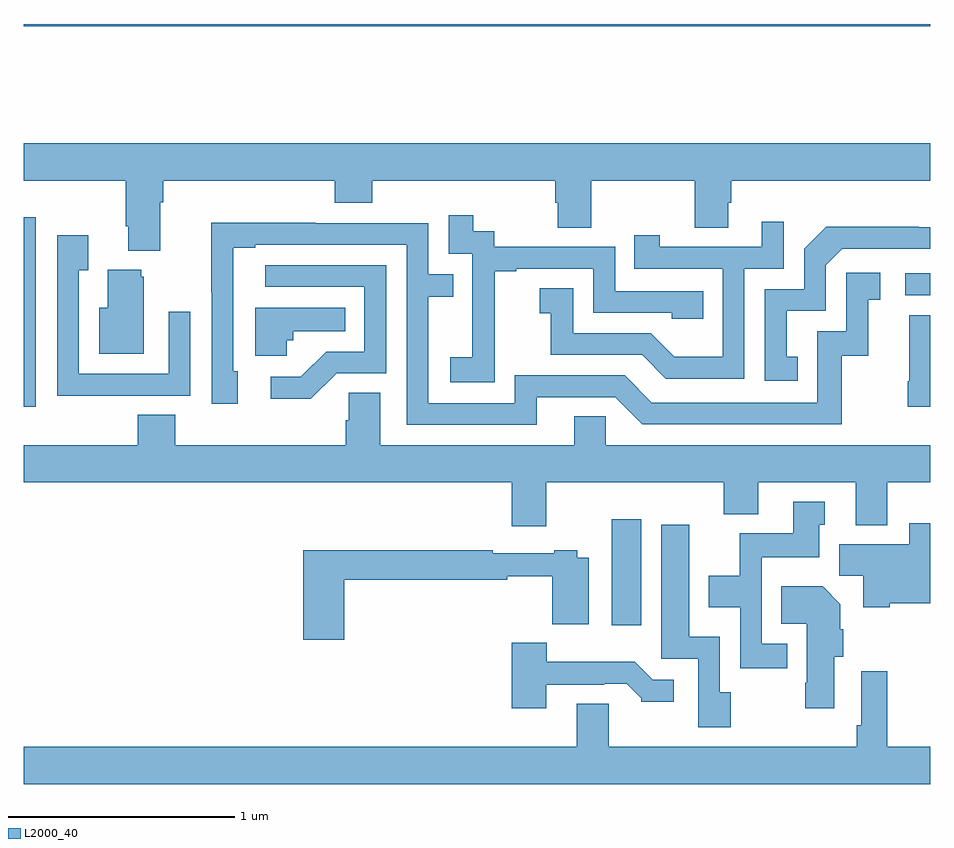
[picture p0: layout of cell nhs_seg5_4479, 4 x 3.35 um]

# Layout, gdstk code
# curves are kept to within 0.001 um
import gdstk
lib = gdstk.Library(unit=1e-6, precision=1e-09)
def R(c, l, rs):  # rectangles x0, y0, x1, y1
    for r in rs: c.add(gdstk.rectangle(r[:2], r[2:], *l))
def P(c, l, *ps):  # polygons
    for p in ps: c.add(gdstk.Polygon(p, *l))
L2000_40 = (2000, 40)

nhs_seg5_4479 = lib.new_cell('nhs_seg5_4479')
R(nhs_seg5_4479, L2000_40, [(377.594,840.144,377.725,840.613), (375,841.11,375.052,841.945), (378.891,841.602,379,841.698), (375,842.788,379,842.799)])
P(nhs_seg5_4479, L2000_40, [(375.601,842.012),(375.614,842.012),(375.614,842.108),(376.373,842.108),(376.373,842.009),(376.538,842.009),(376.538,842.108),(377.345,842.108),(377.345,842.01),(377.357,842.01),(377.357,841.9),(377.505,841.9),(377.505,842.108),(377.962,842.108),(377.962,841.9),(378.109,841.9),(378.109,842.01),(378.122,842.01),(378.122,842.108),(379,842.108),(379,842.272),(375,842.272),(375,842.108),(375.449,842.108),(375.449,841.906),(375.461,841.906),(375.461,841.799),(375.601,841.799)],
  [(377.079,841.423),(377.078,841.423),(377.078,841.707),(377.173,841.707),(377.173,841.719),(377.514,841.719),(377.514,841.524),(377.859,841.524),(377.859,841.497),(377.999,841.497),(377.999,841.62),(377.61,841.62),(377.61,841.815),(377.076,841.815),(377.076,841.884),(376.984,841.884),(376.984,841.954),(376.875,841.954),(376.875,841.785),(376.98,841.785),(376.98,841.556),(376.979,841.556),(376.979,841.327),(376.881,841.327),(376.881,841.217),(377.079,841.217)],
  [(378.18,841.719),(378.354,841.719),(378.354,841.927),(378.257,841.927),(378.257,841.815),(377.806,841.815),(377.806,841.867),(377.695,841.867),(377.695,841.719),(378.084,841.719),(378.084,841.33),(377.87,841.33),(377.766,841.434),(377.424,841.434),(377.424,841.633),(377.277,841.633),(377.277,841.523),(377.326,841.523),(377.326,841.338),(377.729,841.338),(377.834,841.233),(378.18,841.233)],
  [(377.263,841.152),(377.61,841.152),(377.73,841.032),(378.61,841.032),(378.61,841.335),(378.728,841.335),(378.728,841.581),(378.781,841.581),(378.781,841.702),(378.63,841.702),(378.63,841.443),(378.501,841.443),(378.501,841.128),(377.772,841.128),(377.652,841.248),(377.166,841.248),(377.166,841.125),(376.785,841.125),(376.785,841.594),(376.895,841.594),(376.895,841.695),(376.785,841.695),(376.785,841.92),(376.289,841.92),(376.289,841.922),(375.826,841.922),(375.826,841.615),(375.828,841.615),(375.828,841.122),(375.943,841.122),(375.943,841.266),(375.924,841.266),(375.925,841.812),(376.021,841.812),(376.021,841.824),(376.689,841.824),(376.689,841.029),(377.263,841.029)],
  [(378.416,841.329),(378.367,841.329),(378.367,841.533),(378.54,841.533),(378.54,841.734),(378.612,841.806),(379,841.806),(379,841.902),(378.95,841.902),(378.95,841.904),(378.542,841.904),(378.444,841.806),(378.444,841.629),(378.27,841.629),(378.27,841.224),(378.416,841.224)],
  [(375.419,841.158),(375.735,841.158),(375.735,841.528),(375.639,841.528),(375.639,841.254),(375.243,841.254),(375.243,841.711),(375.283,841.711),(375.283,841.867),(375.147,841.867),(375.147,841.157),(375.419,841.157)],
  [(376.38,841.257),(376.599,841.257),(376.599,841.734),(376.065,841.734),(376.065,841.638),(376.503,841.638),(376.503,841.353),(376.334,841.353),(376.223,841.242),(376.089,841.242),(376.089,841.145),(376.267,841.145)],
  [(375.529,841.683),(375.518,841.683),(375.518,841.714),(375.371,841.714),(375.371,841.546),(375.332,841.546),(375.332,841.343),(375.529,841.343)],
  [(376.161,841.404),(376.188,841.404),(376.188,841.442),(376.418,841.442),(376.418,841.546),(376.022,841.546),(376.022,841.334),(376.161,841.334)],
  [(379,841.513),(378.908,841.513),(378.908,841.222),(378.901,841.222),(378.901,841.11),(379,841.11)],
  [(377.305,840.776),(378.089,840.776),(378.089,840.635),(378.241,840.635),(378.241,840.776),(378.671,840.776),(378.671,840.587),(378.811,840.587),(378.811,840.776),(379,840.776),(379,840.94),(377.568,840.94),(377.568,841.067),(377.429,841.067),(377.429,840.94),(376.573,840.94),(376.573,841.172),(376.434,841.172),(376.434,841.049),(376.421,841.049),(376.421,840.94),(375.668,840.94),(375.668,841.073),(375.503,841.073),(375.503,840.94),(375,840.94),(375,840.776),(377.153,840.776),(377.153,840.582),(377.305,840.582)],
  [(378.37,840.063),(378.258,840.063),(378.258,840.446),(378.511,840.446),(378.511,840.588),(378.535,840.588),(378.535,840.691),(378.395,840.691),(378.395,840.55),(378.16,840.55),(378.16,840.364),(378.023,840.364),(378.023,840.224),(378.162,840.224),(378.162,839.955),(378.37,839.955)],
  [(378.822,840.242),(379,840.242),(379,840.595),(378.908,840.595),(378.908,840.502),(378.599,840.502),(378.599,840.364),(378.704,840.364),(378.704,840.224),(378.822,840.224)],
  [(378.12,839.85),(378.072,839.85),(378.072,840.094),(377.938,840.094),(377.938,840.589),(377.813,840.589),(377.813,839.997),(377.976,839.997),(377.976,839.694),(378.12,839.694)],
  [(376.415,840.346),(377.134,840.346),(377.134,840.361),(377.332,840.361),(377.332,840.149),(377.494,840.149),(377.494,840.442),(377.442,840.442),(377.442,840.475),(377.342,840.475),(377.342,840.462),(377.069,840.462),(377.069,840.475),(376.232,840.475),(376.232,840.081),(376.415,840.081)],
  [(378.577,840.006),(378.617,840.006),(378.617,840.128),(378.604,840.128),(378.604,840.238),(378.526,840.316),(378.343,840.316),(378.343,840.152),(378.455,840.152),(378.455,839.89),(378.448,839.89),(378.448,839.778),(378.577,839.778)],
  [(377.305,839.883),(377.561,839.883),(377.561,839.886),(377.66,839.886),(377.724,839.822),(377.724,839.807),(377.869,839.807),(377.869,839.904),(377.775,839.904),(377.697,839.983),(377.308,839.983),(377.308,840.067),(377.153,840.067),(377.153,839.778),(377.305,839.778)],
  [(379,839.608),(378.812,839.608),(378.812,839.941),(378.696,839.941),(378.696,839.704),(378.676,839.704),(378.676,839.608),(377.581,839.608),(377.581,839.798),(377.441,839.798),(377.441,839.608),(375,839.608),(375,839.444),(379,839.444)])

lib.write_gds('nhs_seg5_4479.gds')
